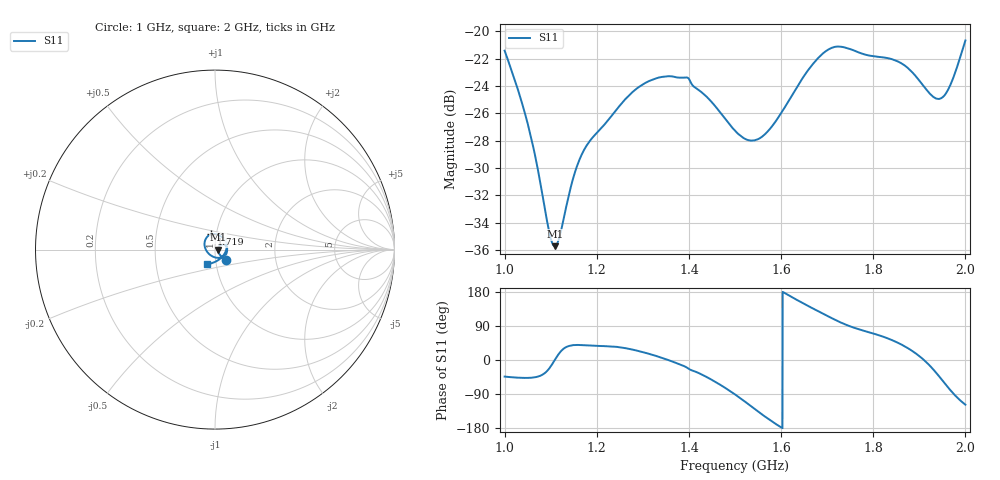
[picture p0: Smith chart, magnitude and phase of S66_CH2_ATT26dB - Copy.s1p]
!Keysight Technologies,N5245A,US52130011,A.10.65.16
!Date: Monday, July 14, 2025 15:52:20
!Correction: S11(Full 1 Port(1))
!S1P File: Measurement: S11:
# Hz S  RI  R 50
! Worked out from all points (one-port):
!   2001 points, 1 GHz to 2 GHz, reference 50 ohm
!   lowest |S11| = -35.7 dB at 1.109 GHz (marker M1), VSWR 1.03, Z = 51.7 + j0.0399 ohm
!   |S11| at or under -10 dB: start of sweep to end of sweep
!   S11 on the Smith chart (normalised r, x): 1 GHz: 1.12, -0.13; 1.719 GHz: 0.94, +0.16; 2 GHz: 0.91, -0.15
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1e9  0.0614 -0.0587
1.025e9  0.0443 -0.0465
1.0495e9  0.0315 -0.034
1.069e9  0.0236 -0.0234
1.097e9  0.017 -0.00693
1.1095e9  0.0164 0.000386
1.1165e9  0.0166 0.00426
1.125e9  0.0174 0.0087
1.148e9  0.0223 0.0181
1.1685e9  0.0277 0.0227
1.25e9  0.0445 0.0297
1.311e9  0.0626 0.0193
1.375e9  0.0669 -0.0106
1.3985e9  0.0624 -0.0256
1.5e9  -0.000612 -0.0433
1.5285e9  -0.0176 -0.036
1.5545e9  -0.0312 -0.0262
1.5835e9  -0.0441 -0.0119
1.625e9  -0.0568 0.0155
1.6775e9  -0.0514 0.0598
1.719e9  -0.0226 0.0849
1.75e9  0.00191 0.086
1.8425e9  0.0491 0.0618
1.875e9  0.0627 0.0382
1.927e9  0.0545 -0.0203
1.9465e9  0.0377 -0.0425
1.9675e9  0.0112 -0.0627
2e9  -0.0433 -0.0818
